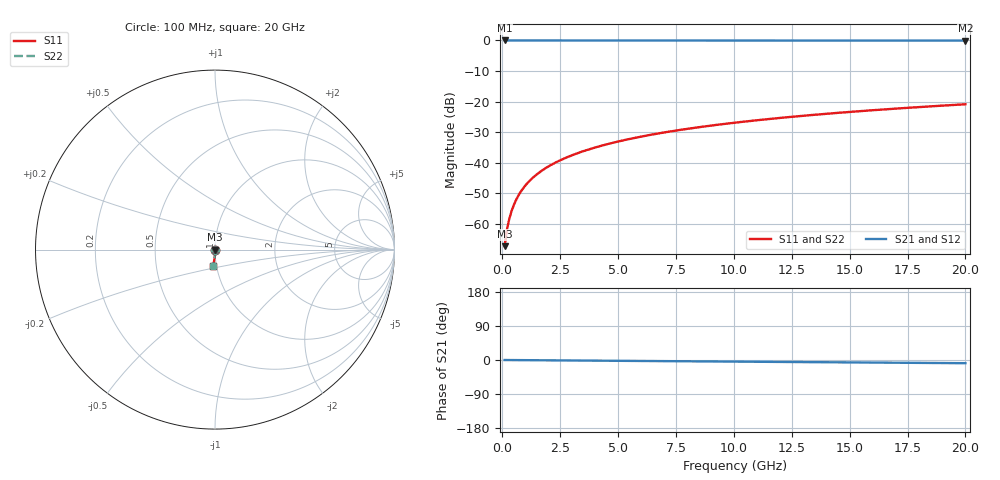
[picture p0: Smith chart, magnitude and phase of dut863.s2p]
! Touchstone file exported from HFSS 2026.1.0
!  File:  C:/ffzhzh/LocalFiles/Ansys_Project_Files/temp_train_TSV_863_1783185368_18472.aedt
!  Generated:  01:17:29 AM Jul  5, 2026
!  Design:  TSV
!  Project:  temp_train_TSV_863_1783185368_18472
! Variables:
!  h_bsmrdl = 2um
!  h_ox = 20um
!  h_rdl = 5um
!  h_sub = 72.09um
!  h_tmrdl = 5um
!  h_tsv = 72.09um
!  h_via = 3um
!  l_bsmrdl = 300um
!  l_sub = 414.84um
!  l_tmrdl = 200um
!  m_sub = 200um
!  pitch = 18.01um
!  r_tsv = 7.42um
!  s_tmrdl = 10um
!  w_bsmrdl = 18um
!  w_sub = 500um
!  w_tmrdl = 12um
!  x_tsv_center1 = 206um
!  x_tsv_center2 = 524um
!  x_tsv_center3 = 736um
!  x_tsv_center4 = 1054um
!  x_tsv_center5 = 1266um
!  x_tsv_center6 = 1584um
# GHz S MA R 50.000000
! Terminal data exported
! Port[1] = TSV1_1_T1
! Port[2] = TSV1_1_T2
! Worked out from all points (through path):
!   200 points, 100 MHz to 20 GHz, reference 50 ohm
!   highest |S21| = 0.00 dB at 100 MHz (marker M1); lowest = -0.1 dB at 20 GHz (marker M2)
!   group delay of S21, straight-line fit = 1.17 ps
!   lowest |S11| = -67.3 dB at 100 MHz (marker M3), VSWR 1.00, Z = 50 - j0.0379 ohm
!   |S11| at or under -10 dB: start of sweep to end of sweep
!   |S22| runs from -67.3 to -20.9 dB; largest |S21 - S12| = 2.1e-15
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0.1  0.0004318 -61.3  0.9998 -0.0  0.9998 -0.0  0.0004318 -61.3
! Gamma 0 0 0 0
! Port Impedance 50 0 50 0
0.2  0.000802 -73.0  0.9998 -0.1  0.9998 -0.1  0.000802 -73.0
0.3  0.001201 -76.9  0.9997 -0.1  0.9997 -0.1  0.001201 -76.9
0.4  0.001617 -78.9  0.9997 -0.2  0.9997 -0.2  0.001617 -78.9
0.5  0.002046 -80.2  0.9996 -0.2  0.9996 -0.2  0.002046 -80.2
0.7  0.002924 -82.0  0.9996 -0.3  0.9996 -0.3  0.002924 -82.0
0.8  0.003368 -82.7  0.9995 -0.4  0.9995 -0.4  0.003368 -82.7
1  0.00426 -83.8  0.9995 -0.4  0.9995 -0.4  0.00426 -83.8
1.2  0.005154 -84.6  0.9995 -0.5  0.9995 -0.5  0.005154 -84.6
1.4  0.006048 -85.3  0.9994 -0.6  0.9994 -0.6  0.006048 -85.3
1.7  0.007387 -86.1  0.9994 -0.7  0.9994 -0.7  0.007387 -86.1
2  0.008727 -86.7  0.9993 -0.9  0.9993 -0.9  0.008727 -86.7
2.7  0.01186 -87.7  0.9992 -1.2  0.9992 -1.2  0.01186 -87.7
3.5  0.01545 -88.5  0.9991 -1.5  0.9991 -1.5  0.01545 -88.5
4.2  0.01861 -89.0  0.9989 -1.8  0.9989 -1.8  0.01861 -89.0
5  0.02223 -89.6  0.9988 -2.1  0.9988 -2.1  0.02223 -89.6
6.8  0.03041 -90.7  0.9983 -2.9  0.9983 -2.9  0.03041 -90.7
8.3  0.03724 -91.5  0.998 -3.5  0.998 -3.5  0.03724 -91.5
10.1  0.04545 -92.4  0.9975 -4.3  0.9975 -4.3  0.04545 -92.4
13.4  0.06047 -94.1  0.9965 -5.7  0.9965 -5.7  0.06047 -94.1
16.7  0.07545 -95.6  0.9952 -7.1  0.9952 -7.1  0.07545 -95.6
20  0.09039 -97.1  0.9938 -8.4  0.9938 -8.4  0.09039 -97.1
